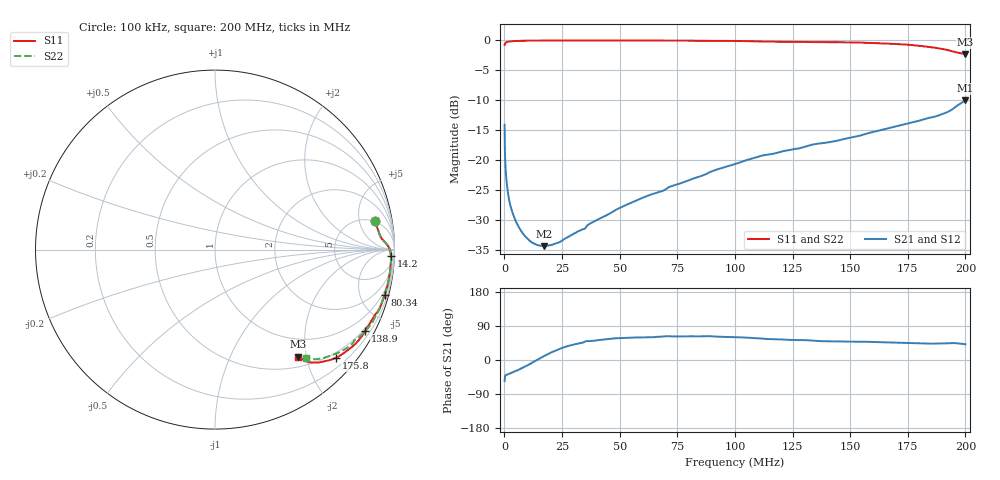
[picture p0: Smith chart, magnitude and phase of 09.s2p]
#  HZ  S  RI  R  50.00
! Rohde & Schwarz Vector Network Analyzer
! Rohde-Schwarz,ZNLE6-2Port,1323001256200024,1.71.1.10-23.02.1.238
! Created: UTC 4/7/2025, 9:08:39 AM
! freq[Hz]  re:S11  im:S11  re:S21  im:S21  re:S12  im:S12  re:S22  im:S22
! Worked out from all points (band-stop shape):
!   1001 points, 100 kHz to 200 MHz, reference 50 ohm
!   highest |S21| = -10.11 dB at 200 MHz (marker M1); lowest = -34.3 dB at 17.3 MHz (marker M2)
!   |S21| within 3 dB of the highest: 183.3 MHz to end of sweep
!   lowest |S11| = -2.4 dB at 200 MHz (marker M3), VSWR 7.18, Z = 33.4 - j92.8 ohm
!   |S11| at or under -10 dB: nowhere
!   |S22| runs from -2.1 to -0.1 dB; largest |S21 - S12| = 0.01
!   S11 on the Smith chart (normalised r, x): 100 kHz: 4.82, +8.48; 14.2 MHz: 24, -43; 80.34 MHz: 0.63, -7.50; 138.9 MHz: 0.41, -3.91; 175.8 MHz: 0.39, -2.56; 200 MHz: 0.67, -1.86
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100000  0.8899 0.1604  0.1111 -0.1614  0.1115 -0.1617  0.8897 0.1605
182297.8  0.9115 0.0993  0.0892 -0.1003  0.0895 -0.1005  0.9114 0.0995
355854.1  0.9262 0.065  0.0743 -0.0662  0.0745 -0.0663  0.9263 0.0651
1266322  0.9546 0.0328  0.0456 -0.0362  0.0457 -0.0363  0.9545 0.0327
4472136  0.9721 0.00504  0.0281 -0.0164  0.0277 -0.0167  0.9732 0.00608
1.071849e7  0.979 -0.0221  0.021 -0.00425  0.021 -0.00499  0.9792 -0.0227
1.419945e7  0.9799 -0.0349  0.0196 0.000124  0.0196 -0.000321  0.9804 -0.0359
1.591428e7  0.9801 -0.0409  0.0192 0.00202  0.0192 0.00177  0.9807 -0.0425
1.730208e7  0.9806 -0.0458  0.0188 0.00362  0.0191 0.00295  0.9807 -0.047
2.362874e7  0.9798 -0.0675  0.0181 0.00984  0.0182 0.00956  0.9803 -0.0696
3.37745e7  0.9774 -0.1015  0.0185 0.0188  0.0185 0.0186  0.9773 -0.105
5.663162e7  0.9663 -0.1762  0.0232 0.0391  0.0243 0.0381  0.9653 -0.1804
6.745012e7  0.9578 -0.213  0.026 0.0477  0.0285 0.0465  0.9554 -0.218
8.03353e7  0.9447 -0.2547  0.0314 0.0604  0.0336 0.0594  0.9407 -0.2629
9.788884e7  0.9226 -0.3152  0.0443 0.0781  0.0469 0.0771  0.9186 -0.3265
1.15706e8  0.886 -0.3733  0.0638 0.0916  0.0657 0.0904  0.8865 -0.3874
1.388611e8  0.8366 -0.4528  0.0897 0.1052  0.0909 0.1024  0.8261 -0.4648
1.580149e8  0.7712 -0.5353  0.112 0.124  0.1141 0.1191  0.7622 -0.5261
1.757569e8  0.6728 -0.6035  0.1442 0.1416  0.1486 0.1348  0.662 -0.5842
1.867759e8  0.5806 -0.6285  0.1667 0.1568  0.1721 0.1497  0.5872 -0.6078
1.940108e8  0.5063 -0.6216  0.1856 0.1829  0.1922 0.1761  0.5318 -0.6082
2e8  0.4644 -0.5961  0.234 0.2065  0.2414 0.1994  0.5053 -0.6063
